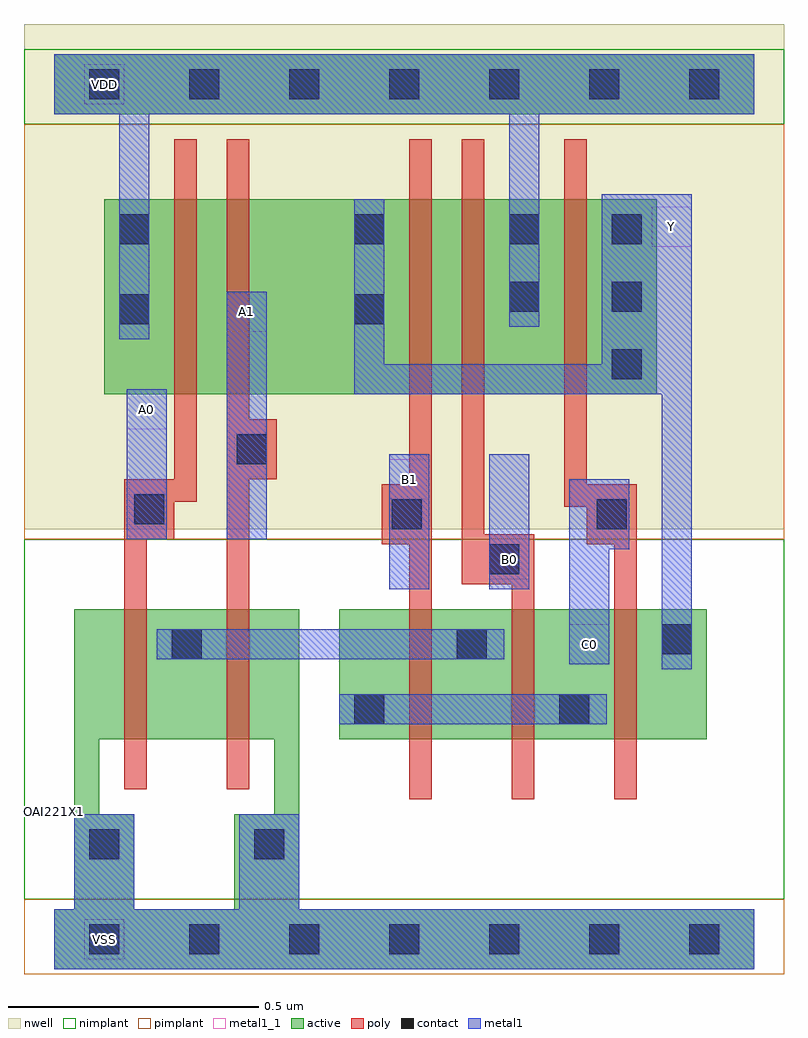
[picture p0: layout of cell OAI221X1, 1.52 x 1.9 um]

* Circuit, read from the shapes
.subckt OAI221X1 A0 A1 B0 B1 C0 VDD VSS Y
M1 n1 A0 VSS VSS nfet w=0.26u l=0.045u
M2 VSS A1 n1 VSS nfet w=0.26u l=0.045u
M3 n1 B1 n2 VSS nfet w=0.26u l=0.045u
M4 n2 B0 n1 VSS nfet w=0.26u l=0.045u
M5 Y C0 n2 VSS nfet w=0.26u l=0.045u
M6 n3 A0 VDD VDD pfet w=0.39u l=0.045u
M7 Y A1 n3 VDD pfet w=0.39u l=0.045u
M8 n4 B1 Y VDD pfet w=0.39u l=0.045u
M9 VDD B0 n4 VDD pfet w=0.39u l=0.045u
M10 Y C0 VDD VDD pfet w=0.39u l=0.045u
.ends

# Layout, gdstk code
import gdstk
lib = gdstk.Library(unit=1e-6, precision=5e-10)
def R(c, l, rs):  # rectangles x0, y0, x1, y1
    for r in rs: c.add(gdstk.rectangle(r[:2], r[2:], *l))
def A(c, l, x, y, w, h, nx, ny, dx, dy):  # array of equal rectangles
    R(c, l, [(x+i*dx, y+j*dy, x+i*dx+w, y+j*dy+h) for i in range(nx) for j in range(ny)])
def P(c, l, *ps):  # polygons
    for p in ps: c.add(gdstk.Polygon(p, *l))
active = (1, 0)
nwell = (2, 0)
poly = (3, 0)
nimplant = (4, 0)
pimplant = (5, 0)
contact = (6, 0)
metal1 = (7, 0)
metal1_1 = (7, 1)

oai221x1 = lib.new_cell('OAI221X1')
R(oai221x1, active, [(0.57,0.4,1.305,0.66), (0.1,1.09,1.205,1.48), (0,1.65,1.4,1.77)])
P(oai221x1, active, [(1.4,0.06),(0.49,0.06),(0.49,0.66),(0.44,0.66),(0.44,0.25),(0.36,0.25),(0.36,0.06),(0.16,0.06),(0.16,0.25),(0.09,0.25),(0.09,0.4),(0.44,0.4),(0.44,0.66),(0.04,0.66),(0.04,0.06),(0,0.06),(0,-0.06),(1.4,-0.06)])
R(oai221x1, nwell, [(-0.06,0.82,1.46,1.83)])
P(oai221x1, poly, [(1.165,0.91),(1.065,0.91),(1.065,1.6),(1.02,1.6),(1.02,0.865),(1.065,0.865),(1.065,0.79),(1.12,0.79),(1.12,0.28),(1.165,0.28)],
  [(0.96,0.81),(0.86,0.81),(0.86,1.6),(0.815,1.6),(0.815,0.71),(0.915,0.71),(0.915,0.28),(0.96,0.28)],
  [(0.755,1.6),(0.71,1.6),(0.71,0.91),(0.655,0.91),(0.655,0.79),(0.71,0.79),(0.71,0.28),(0.755,0.28)],
  [(0.445,1.04),(0.39,1.04),(0.39,1.6),(0.345,1.6),(0.345,0.3),(0.39,0.3),(0.39,0.92),(0.445,0.92)],
  [(0.285,1.6),(0.24,1.6),(0.24,0.92),(0.14,0.92),(0.14,0.3),(0.185,0.3),(0.185,0.8),(0.24,0.8),(0.24,0.875),(0.285,0.875)])
R(oai221x1, nimplant, [(-0.06,0.08,1.46,0.8), (-0.06,1.63,1.46,1.78)])
R(oai221x1, pimplant, [(-0.06,-0.07,1.46,0.08), (-0.06,0.8,1.46,1.63)])
A(oai221x1, contact, 0.07, -0.03, 0.06, 0.06, 7, 2, 0.2, 1.71)
A(oai221x1, contact, 1.115, 1.12, 0.06, 0.06, 1, 3, 0, 0.135)
R(oai221x1, contact, [(0.07,0.16,0.13,0.22), (0.4,0.16,0.46,0.22), (0.6,0.43,0.66,0.49), (1.01,0.43,1.07,0.49), (0.235,0.56,0.295,0.62), (0.805,0.56,0.865,0.62), (1.215,0.57,1.275,0.63), (0.87,0.73,0.93,0.79), (0.675,0.82,0.735,0.88), (1.085,0.82,1.145,0.88), (0.16,0.83,0.22,0.89), (0.365,0.95,0.425,1.01), (0.13,1.23,0.19,1.29), (0.6,1.23,0.66,1.29), (0.91,1.255,0.97,1.315), (0.13,1.39,0.19,1.45), (0.6,1.39,0.66,1.45), (0.91,1.39,0.97,1.45)])
R(oai221x1, metal1, [(0.57,0.43,1.105,0.49), (0.205,0.56,0.9,0.62), (0.67,0.7,0.75,0.97), (0.87,0.7,0.95,0.97), (0.145,0.8,0.225,1.1), (0.345,0.8,0.425,1.295)])
P(oai221x1, metal1, [(1.275,1.49),(1.095,1.49),(1.095,1.15),(0.66,1.15),(0.66,1.48),(0.6,1.48),(0.6,1.09),(1.215,1.09),(1.215,0.54),(1.275,0.54)],
  [(1.15,0.92),(1.03,0.92),(1.03,0.55),(1.11,0.55),(1.11,0.78),(1.15,0.78)],
  [(1.4,1.77),(0,1.77),(0,1.65),(0.13,1.65),(0.13,1.2),(0.19,1.2),(0.19,1.65),(0.91,1.65),(0.91,1.225),(0.97,1.225),(0.97,1.65),(1.4,1.65)],
  [(1.4,0.06),(0.49,0.06),(0.49,0.25),(0.37,0.25),(0.37,0.06),(0.16,0.06),(0.16,0.25),(0.04,0.25),(0.04,0.06),(0,0.06),(0,-0.06),(1.4,-0.06)])
R(oai221x1, metal1_1, [(0.06,-0.04,0.14,0.04), (1.03,0.55,1.11,0.63), (0.87,0.72,0.95,0.8), (0.67,0.88,0.75,0.96), (0.145,1.02,0.225,1.1), (0.345,1.215,0.425,1.295), (1.195,1.385,1.275,1.465), (0.06,1.67,0.14,1.75)])
oai221x1.add(gdstk.Label('VSS', (0.1,0), layer=7, texttype=1))
oai221x1.add(gdstk.Label('B1', (0.71,0.92), layer=7, texttype=1))
oai221x1.add(gdstk.Label('C0', (1.07,0.59), layer=7, texttype=1))
oai221x1.add(gdstk.Label('B0', (0.91,0.76), layer=7, texttype=1))
oai221x1.add(gdstk.Label('A0', (0.185,1.06), layer=7, texttype=1))
oai221x1.add(gdstk.Label('A1', (0.385,1.255), layer=7, texttype=1))
oai221x1.add(gdstk.Label('VDD', (0.1,1.71), layer=7, texttype=1))
oai221x1.add(gdstk.Label('Y', (1.235,1.425), layer=7, texttype=1))
oai221x1.add(gdstk.Label('OAI221X1', (0,0.255), layer=63, texttype=0))

lib.write_gds('OAI221X1.gds')
